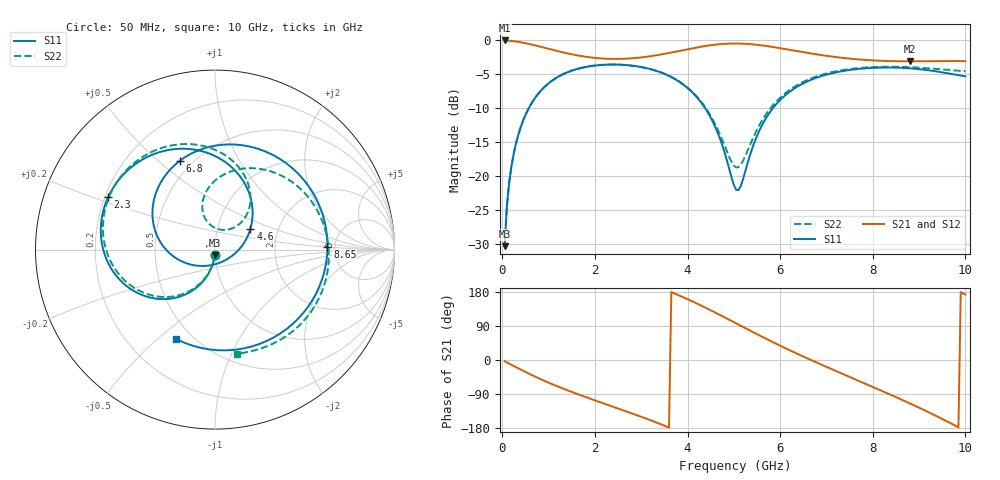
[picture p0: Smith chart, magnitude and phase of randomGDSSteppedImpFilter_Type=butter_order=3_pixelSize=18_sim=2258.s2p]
! freq	dB(S11)	phase(S11)	dB(S12)	phase(S12)
!  dB(S21)	phase(S21)	dB(S22)	phase(S22)
!S-par simulation data
#  GHz  S  DB  R 50
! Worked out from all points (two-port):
!   200 points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, 50 MHz to 10 GHz, reference 50 ohm
!   highest |S21| = -0.01 dB at 50 MHz (marker M1); lowest = -3.1 dB at 8.8 GHz (marker M2)
!   |S21| within 3 dB of the highest: start of sweep to 8.184 GHz
!   lowest |S11| = -30.4 dB at 50 MHz (marker M3), VSWR 1.06, Z = 49.7 - j3.01 ohm
!   |S11| at or under -10 dB: start of sweep to 572.9 MHz; 4.379 GHz to 5.844 GHz (1.465 GHz wide, 28.7 % of centre)
!   |S22| runs from -30.3 to -3.6 dB; largest |S21 - S12| = 0
!   S11 on the Smith chart (normalised r, x): 50 MHz: 0.99, -0.06; 2.3 GHz: 0.21, +0.22; 4.6 GHz: 1.44, +0.35; 6.8 GHz: 0.43, +0.59; 8.65 GHz: 4.35, +0.19; 10 GHz: 0.41, -0.58
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0.05  -30.36 -93.3  -0.01 -3.3  -0.01 -3.3  -30.35 -93.6
0.1  -24.38 -96.7  -0.02 -6.5  -0.02 -6.5  -24.38 -97.1
0.2  -18.47 -103.1  -0.08 -12.9  -0.08 -12.9  -18.48 -103.8
0.5  -11.01 -121.3  -0.41 -31.6  -0.41 -31.6  -11.01 -122.8
1.05  -6.06 -151.2  -1.32 -62.4  -1.32 -62.4  -6.06 -154.6
1.75  -3.99 176.7  -2.36 -95.6  -2.36 -95.6  -3.99 171.2
2.3  -3.56 153.8  -2.72 -119.2  -2.72 -119.2  -3.57 146.7
2.9  -3.82 128.7  -2.58 -145.2  -2.58 -145.2  -3.82 120.4
3.4  -4.67 106.0  -2.11 -168.4  -2.11 -168.4  -4.66 97.6
4.05  -7.32 71.0  -1.24 157.7  -1.24 157.7  -7.26 66.7
4.6  -12.80 30.5  -0.62 125.1  -0.62 125.1  -12.40 46.6
5.05  -22.04 -57.2  -0.46 96.7  -0.46 96.7  -18.76 74.8
5.45  -14.94 -155.2  -0.61 71.3  -0.61 71.3  -13.88 108.2
5.9  -9.53 166.1  -1.03 43.7  -1.03 43.7  -9.13 95.5
6.7  -5.72 117.0  -1.96 -1.9  -1.96 -1.9  -5.52 56.5
6.8  -5.47 111.3  -2.07 -7.3  -2.07 -7.3  -5.28 51.5
7.55  -4.32 69.2  -2.72 -47.2  -2.72 -47.2  -4.18 15.4
8.35  -4.00 21.1  -3.04 -89.7  -3.04 -89.7  -3.88 -19.5
8.65  -4.06 1.2  -3.08 -106.1  -3.08 -106.1  -3.91 -31.6
8.8  -4.12 -9.3  -3.09 -114.5  -3.09 -114.5  -3.95 -37.4
9.5  -4.71 -64.7  -3.04 -155.5  -3.04 -155.5  -4.28 -62.2
10  -5.30 -113.3  -3.06 172.6  -3.06 172.6  -4.54 -77.8
